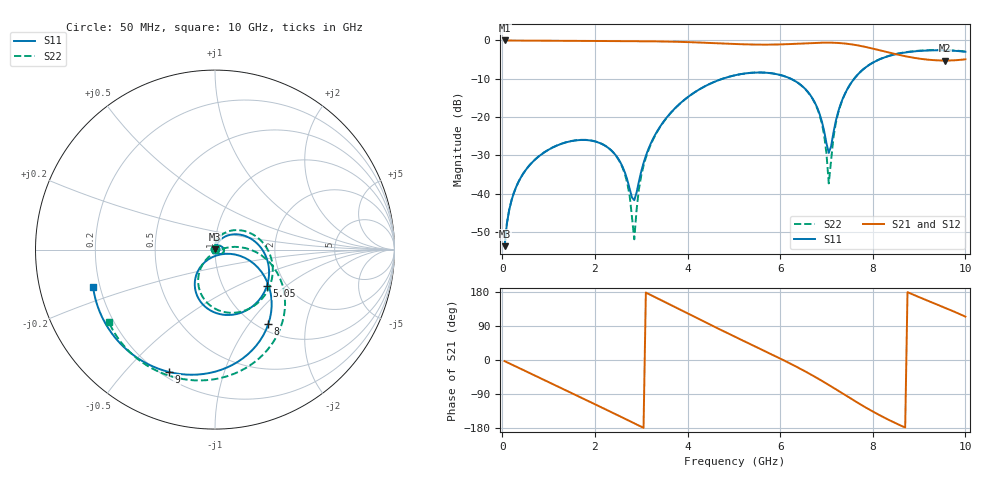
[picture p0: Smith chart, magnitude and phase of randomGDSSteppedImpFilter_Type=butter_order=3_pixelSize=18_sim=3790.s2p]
! freq	dB(S11)	phase(S11)	dB(S12)	phase(S12)
!  dB(S21)	phase(S21)	dB(S22)	phase(S22)
!S-par simulation data
#  GHz  S  DB  R 50
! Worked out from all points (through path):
!   200 points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, 50 MHz to 10 GHz, reference 50 ohm
!   highest |S21| = -0.01 dB at 50 MHz (marker M1); lowest = -5.3 dB at 9.55 GHz (marker M2)
!   group delay of S21, straight-line fit = 172 ps
!   lowest |S11| = -53.8 dB at 50 MHz (marker M3), VSWR 1.00, Z = 50 + j0.204 ohm
!   |S11| at or under -10 dB: start of sweep to 4.76 GHz; 6.227 GHz to 7.599 GHz (1.372 GHz wide, 19.8 % of centre)
!   |S22| runs from -53.7 to -2.5 dB; largest |S21 - S12| = 0
!   S11 on the Smith chart (normalised r, x): 50 MHz: 1.00, +0.00; 5.05 GHz: 1.60, -0.74; 8 GHz: 1.11, -1.25; 9 GHz: 0.23, -0.67; 10 GHz: 0.17, -0.15
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0.05  -53.75 84.2  -0.01 -3.0  -0.01 -3.0  -53.75 84.4
0.2  -41.75 77.4  -0.03 -11.8  -0.03 -11.8  -41.74 78.1
0.5  -33.95 60.0  -0.05 -29.2  -0.05 -29.2  -33.94 61.8
1.75  -26.00 -11.2  -0.13 -102.0  -0.13 -102.0  -25.96 -7.5
2.55  -31.86 -47.6  -0.18 -149.1  -0.18 -149.1  -32.01 -51.0
2.75  -38.72 -33.6  -0.19 -161.0  -0.19 -161.0  -40.59 -54.4
2.85  -41.75 15.1  -0.20 -167.0  -0.20 -167.0  -51.96 25.7
3  -34.24 63.3  -0.21 -176.0  -0.21 -176.0  -35.33 90.3
3.4  -22.65 57.6  -0.26 159.8  -0.26 159.8  -22.77 71.7
4.25  -12.83 11.0  -0.54 107.8  -0.54 107.8  -12.83 21.6
5.05  -9.04 -35.1  -0.95 59.8  -0.95 59.8  -9.03 -25.7
5.95  -8.88 -85.9  -1.06 7.0  -1.06 7.0  -8.87 -77.5
6.7  -15.18 -126.6  -0.66 -40.8  -0.66 -40.8  -15.26 -122.2
6.95  -23.67 -124.1  -0.58 -58.5  -0.58 -58.5  -24.71 -131.2
7.05  -29.39 -78.1  -0.57 -65.9  -0.57 -65.9  -37.35 -76.5
7.2  -21.15 -15.6  -0.63 -77.1  -0.63 -77.1  -21.70 9.3
7.35  -15.26 -15.4  -0.75 -88.4  -0.75 -88.4  -15.36 2.8
8  -5.83 -54.5  -2.14 -135.9  -2.14 -135.9  -5.79 -40.8
8.35  -4.06 -75.8  -3.17 -158.3  -3.17 -158.3  -4.02 -62.2
9  -2.75 -110.8  -4.75 165.9  -4.75 165.9  -2.69 -96.6
9.55  -2.59 -138.6  -5.26 138.2  -5.26 138.2  -2.53 -123.1
10  -2.96 -162.8  -4.93 114.5  -4.93 114.5  -2.89 -145.5
